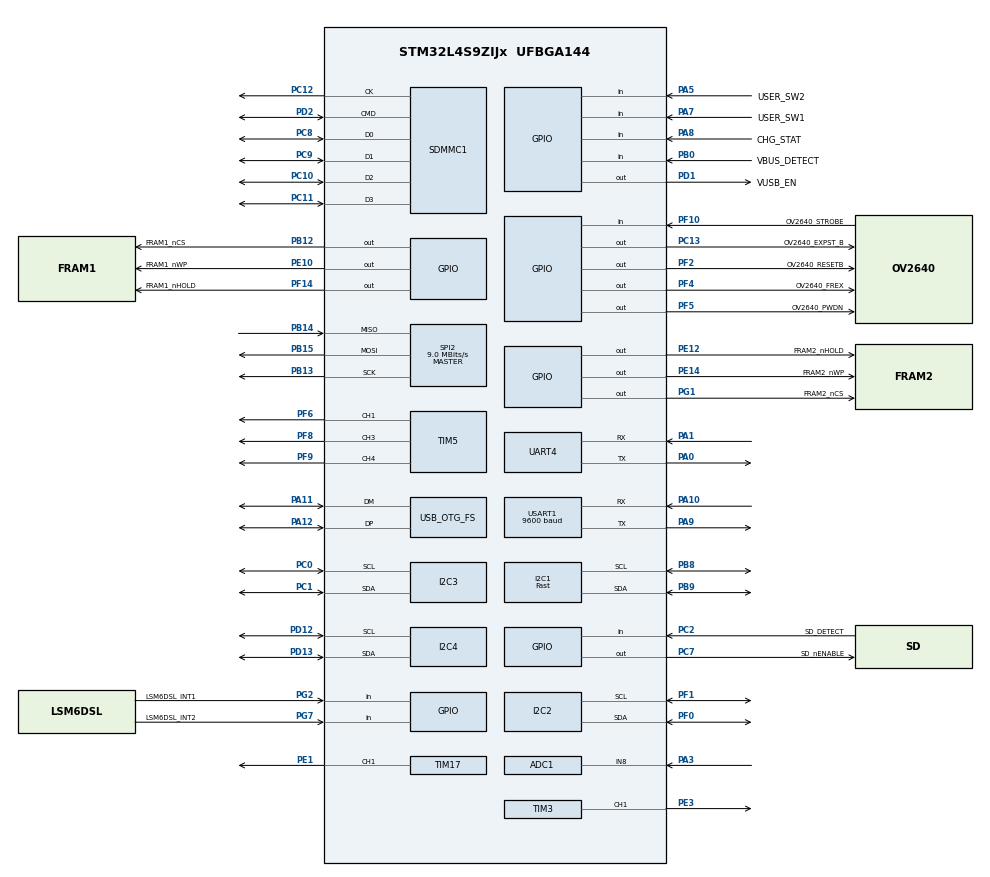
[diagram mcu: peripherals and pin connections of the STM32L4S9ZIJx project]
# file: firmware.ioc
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ADC1.Channel-0\#ChannelRegularConversion=ADC_CHANNEL_8
ADC1.DMAContinuousRequests=ENABLE
ADC1.NbrOfConversionFlag=1
ADC1.OffsetNumber-0\#ChannelRegularConversion=ADC_OFFSET_NONE
ADC1.Rank-0\#ChannelRegularConversion=1
ADC1.SamplingTime-0\#ChannelRegularConversion=ADC_SAMPLETIME_2CYCLES_5
ADC1.master=1
Dma.ADC1.0.Direction=DMA_PERIPH_TO_MEMORY
Dma.ADC1.0.EventEnable=DISABLE
Dma.ADC1.0.Instance=DMA1_Channel1
Dma.ADC1.0.MemDataAlignment=DMA_MDATAALIGN_HALFWORD
Dma.ADC1.0.MemInc=DMA_MINC_ENABLE
Dma.ADC1.0.Mode=DMA_CIRCULAR
Dma.ADC1.0.PeriphDataAlignment=DMA_PDATAALIGN_HALFWORD
Dma.ADC1.0.PeriphInc=DMA_PINC_DISABLE
Dma.ADC1.0.Polarity=HAL_DMAMUX_REQUEST_GEN_RISING
Dma.ADC1.0.Priority=DMA_PRIORITY_LOW
Dma.ADC1.0.RequestNumber=1
Dma.ADC1.0.SignalID=NONE
Dma.ADC1.0.SyncEnable=DISABLE
Dma.ADC1.0.SyncPolarity=HAL_DMAMUX_SYNC_NO_EVENT
Dma.ADC1.0.SyncRequestNumber=1
Dma.ADC1.0.SyncSignalID=NONE
Dma.Request0=ADC1
Dma.Request1=USART1_RX
Dma.Request2=UART4_TX
Dma.UART4_TX.2.Direction=DMA_MEMORY_TO_PERIPH
Dma.UART4_TX.2.EventEnable=DISABLE
Dma.UART4_TX.2.Instance=DMA1_Channel3
Dma.UART4_TX.2.MemDataAlignment=DMA_MDATAALIGN_BYTE
Dma.UART4_TX.2.MemInc=DMA_MINC_ENABLE
Dma.UART4_TX.2.Mode=DMA_NORMAL
Dma.UART4_TX.2.PeriphDataAlignment=DMA_PDATAALIGN_BYTE
Dma.UART4_TX.2.PeriphInc=DMA_PINC_DISABLE
Dma.UART4_TX.2.Polarity=HAL_DMAMUX_REQUEST_GEN_RISING
Dma.UART4_TX.2.Priority=DMA_PRIORITY_LOW
Dma.UART4_TX.2.RequestNumber=1
Dma.UART4_TX.2.SignalID=NONE
Dma.UART4_TX.2.SyncEnable=DISABLE
Dma.UART4_TX.2.SyncPolarity=HAL_DMAMUX_SYNC_NO_EVENT
Dma.UART4_TX.2.SyncRequestNumber=1
Dma.UART4_TX.2.SyncSignalID=NONE
Dma.USART1_RX.1.Direction=DMA_PERIPH_TO_MEMORY
Dma.USART1_RX.1.EventEnable=DISABLE
Dma.USART1_RX.1.Instance=DMA1_Channel2
Dma.USART1_RX.1.MemDataAlignment=DMA_MDATAALIGN_BYTE
Dma.USART1_RX.1.MemInc=DMA_MINC_ENABLE
Dma.USART1_RX.1.Mode=DMA_NORMAL
Dma.USART1_RX.1.PeriphDataAlignment=DMA_PDATAALIGN_BYTE
Dma.USART1_RX.1.PeriphInc=DMA_PINC_DISABLE
Dma.USART1_RX.1.Polarity=HAL_DMAMUX_REQUEST_GEN_RISING
Dma.USART1_RX.1.Priority=DMA_PRIORITY_LOW
Dma.USART1_RX.1.RequestNumber=1
Dma.USART1_RX.1.SignalID=NONE
Dma.USART1_RX.1.SyncEnable=DISABLE
Dma.USART1_RX.1.SyncPolarity=HAL_DMAMUX_SYNC_NO_EVENT
Dma.USART1_RX.1.SyncRequestNumber=1
Dma.USART1_RX.1.SyncSignalID=NONE
FREERTOS.INCLUDE_xTaskGetHandle=1
FREERTOS.MEMORY_ALLOCATION=1
FREERTOS.Tasks01=defaultTask,0,128,StartDefaultTask,Default,NULL,Static,defaultTaskBuffer,defaultTaskControlBlock
FREERTOS.configTICK_RATE_HZ=400
FREERTOS.configUSE_IDLE_HOOK=1
I2C1.I2C_Speed_Mode=I2C_Fast
I2C1.Timing=0x00702681
I2C2.Timing=0x10808DD3
I2C3.Timing=0x10808DD3
I2C4.Timing=0x10808DD3
Mcu.Family=STM32L4
Mcu.Name=STM32L4S9ZIJx
Mcu.Package=UFBGA144
NVIC.DMA1_Channel1_IRQn=true\:5\:0\:false\:false\:true\:true\:false\:true
NVIC.DMA1_Channel2_IRQn=true\:5\:0\:false\:false\:true\:true\:false\:true
NVIC.DMA1_Channel3_IRQn=true\:5\:0\:false\:false\:true\:true\:false\:true
NVIC.PriorityGroup=NVIC_PRIORITYGROUP_4
NVIC.TIM1_UP_TIM16_IRQn=true\:0\:0\:false\:false\:true\:false\:false\:true
NVIC.TimeBase=TIM1_UP_TIM16_IRQn
NVIC.TimeBaseIP=TIM1
NVIC.UART4_IRQn=true\:5\:0\:false\:false\:true\:true\:true\:true
PA0.Mode=Asynchronous
PA0.Signal=UART4_TX
PA1.Mode=Asynchronous
PA1.Signal=UART4_RX
PA10.Mode=Asynchronous
PA10.Signal=USART1_RX
PA11.Mode=Device_Only
PA11.Signal=USB_OTG_FS_DM
PA12.Mode=Device_Only
PA12.Signal=USB_OTG_FS_DP
PA13\ (JTMS/SWDIO).Mode=Serial_Wire
PA13\ (JTMS/SWDIO).Signal=SYS_JTMS-SWDIO
PA14\ (JTCK/SWCLK).Mode=Serial_Wire
PA14\ (JTCK/SWCLK).Signal=SYS_JTCK-SWCLK
PA3.Signal=ADCx_IN8
PA5.GPIO_Label=USER_SW2
PA5.GPIO_PuPd=GPIO_PULLUP
PA5.Signal=GPIO_Input
PA7.GPIO_Label=USER_SW1
PA7.GPIO_PuPd=GPIO_PULLUP
PA7.Signal=GPIO_Input
PA8.GPIO_Label=CHG_STAT
PA8.Signal=GPIO_Input
PA9.Mode=Asynchronous
PA9.Signal=USART1_TX
PB0.GPIO_Label=VBUS_DETECT
PB0.Signal=GPIO_Input
PB12.GPIO_Label=FRAM1_nCS
PB12.Signal=GPIO_Output
PB13.Mode=Full_Duplex_Master
PB13.Signal=SPI2_SCK
PB14.Mode=Full_Duplex_Master
PB14.Signal=SPI2_MISO
PB15.Mode=Full_Duplex_Master
PB15.Signal=SPI2_MOSI
PB3\ (JTDO/TRACESWO).Signal=SYS_JTDO-SWO
PB8.Mode=I2C
PB8.Signal=I2C1_SCL
PB9.Mode=I2C
PB9.Signal=I2C1_SDA
PC0.Mode=I2C
PC0.Signal=I2C3_SCL
PC1.Mode=I2C
PC1.Signal=I2C3_SDA
PC10.GPIO_PuPd=GPIO_NOPULL
PC10.Mode=SD_4_bits_Wide_bus
PC10.Signal=SDMMC1_D2
PC11.Mode=SD_4_bits_Wide_bus
PC11.Signal=SDMMC1_D3
PC12.Mode=SD_4_bits_Wide_bus
PC12.Signal=SDMMC1_CK
PC13.GPIO_Label=OV2640_EXPST_B
PC13.Signal=GPIO_Output
PC14-OSC32_IN\ (PC14).Mode=LSE-External-Oscillator
PC14-OSC32_IN\ (PC14).Signal=RCC_OSC32_IN
PC15-OSC32_OUT\ (PC15).Mode=LSE-External-Oscillator
PC15-OSC32_OUT\ (PC15).Signal=RCC_OSC32_OUT
PC2.GPIO_Label=SD_DETECT
PC2.GPIO_PuPd=GPIO_PULLUP
PC2.Signal=GPIO_Input
PC7.GPIO_Label=SD_nENABLE
PC7.Signal=GPIO_Output
PC8.GPIO_PuPd=GPIO_NOPULL
PC8.Mode=SD_4_bits_Wide_bus
PC8.Signal=SDMMC1_D0
PC9.GPIO_PuPd=GPIO_NOPULL
PC9.Mode=SD_4_bits_Wide_bus
PC9.Signal=SDMMC1_D1
PD1.GPIO_Label=VUSB_EN
PD1.Signal=GPIO_Output
PD12.Mode=I2C
PD12.Signal=I2C4_SCL
PD13.Mode=I2C
PD13.Signal=I2C4_SDA
PD2.Mode=SD_4_bits_Wide_bus
PD2.Signal=SDMMC1_CMD
PE1.Signal=S_TIM17_CH1
PE10.GPIO_Label=FRAM1_nWP
PE10.Signal=GPIO_Output
PE12.GPIO_Label=FRAM2_nHOLD
PE12.Signal=GPIO_Output
PE14.GPIO_Label=FRAM2_nWP
PE14.Signal=GPIO_Output
PE3.Signal=S_TIM3_CH1
PF0.Mode=I2C
PF0.Signal=I2C2_SDA
PF1.Mode=I2C
PF1.Signal=I2C2_SCL
PF10.GPIO_Label=OV2640_STROBE
PF10.Signal=GPIO_Input
PF14.GPIO_Label=FRAM1_nHOLD
PF14.Signal=GPIO_Output
PF2.GPIO_Label=OV2640_RESETB
PF2.GPIO_ModeDefaultOutputPP=GPIO_MODE_OUTPUT_OD
PF2.PinState=GPIO_PIN_SET
PF2.Signal=GPIO_Output
PF4.GPIO_Label=OV2640_FREX
PF4.Signal=GPIO_Output
PF5.GPIO_Label=OV2640_PWDN
PF5.Signal=GPIO_Output
PF6.Signal=S_TIM5_CH1
PF8.Signal=S_TIM5_CH3
PF9.Signal=S_TIM5_CH4
PG1.GPIO_Label=FRAM2_nCS
PG1.Signal=GPIO_Output
PG2.GPIO_Label=LSM6DSL_INT1
PG2.Signal=GPIO_Input
PG7.GPIO_Label=LSM6DSL_INT2
PG7.Signal=GPIO_Input
PH0-OSC_IN\ (PH0).Mode=HSE-External-Oscillator
PH0-OSC_IN\ (PH0).Signal=RCC_OSC_IN
PH1-OSC_OUT\ (PH1).Mode=HSE-External-Oscillator
PH1-OSC_OUT\ (PH1).Signal=RCC_OSC_OUT
ProjectManager.HeapSize=0x200
ProjectManager.StackSize=0x400
ProjectManager.TargetToolchain=STM32CubeIDE
RCC.ADCFreq_Value=32000000
RCC.AHBFreq_Value=72000000
RCC.APB1Freq_Value=72000000
RCC.APB1TimFreq_Value=72000000
RCC.APB2Freq_Value=72000000
RCC.APB2TimFreq_Value=72000000
RCC.CK48CLockSelection=RCC_USBCLKSOURCE_PLL
RCC.CortexFreq_Value=72000000
RCC.HCLKFreq_Value=72000000
RCC.HSE_VALUE=16000000
RCC.HSI48_VALUE=48000000
RCC.HSI_VALUE=16000000
RCC.MSI_VALUE=4000000
RCC.PLLM1=2
RCC.PLLM2=2
RCC.PLLN=36
RCC.PLLQ=RCC_PLLQ_DIV6
RCC.PLLR=RCC_PLLR_DIV4
RCC.PLLSourceVirtual=RCC_PLLSOURCE_HSE
RCC.SDMMCClockSelection=RCC_SDIOCLKSOURCE_CLK48
RCC.SYSCLKFreq_VALUE=72000000
RCC.SYSCLKSource=RCC_SYSCLKSOURCE_PLLCLK
RCC.USBFreq_Value=48000000
RCC.VCOOutputFreq_Value=288000000
SDMMC1.ClockDiv=2
SH.ADCx_IN8.0=ADC1_IN8,IN8-Single-Ended
SH.S_TIM17_CH1.0=TIM17_CH1,Forced Output1 CH1
SH.S_TIM3_CH1.0=TIM3_CH1,PWM Generation1 CH1
SH.S_TIM5_CH1.0=TIM5_CH1,PWM Generation1 CH1
SH.S_TIM5_CH3.0=TIM5_CH3,PWM Generation3 CH3
SH.S_TIM5_CH4.0=TIM5_CH4,PWM Generation4 CH4
SPI2.BaudRatePrescaler=SPI_BAUDRATEPRESCALER_8
SPI2.CalculateBaudRate=9.0 MBits/s
SPI2.Direction=SPI_DIRECTION_2LINES
SPI2.Mode=SPI_MODE_MASTER
SPI2.VirtualType=VM_MASTER
TIM17.AutoReloadPreload=TIM_AUTORELOAD_PRELOAD_DISABLE
TIM17.Channel=TIM_CHANNEL_1
TIM3.Channel-PWM\ Generation1\ CH1=TIM_CHANNEL_1
TIM3.Period=10
TIM3.Pulse-PWM\ Generation1\ CH1=5
TIM5.Channel-PWM\ Generation1\ CH1=TIM_CHANNEL_1
TIM5.Channel-PWM\ Generation3\ CH3=TIM_CHANNEL_3
TIM5.Channel-PWM\ Generation4\ CH4=TIM_CHANNEL_4
USART1.BaudRate=9600
USART1.VirtualMode-Asynchronous=VM_ASYNC
USB_OTG_FS.VirtualMode=Device_Only
USB_OTG_FS.lpm_enable=DISABLE
VP_FREERTOS_VS_CMSIS_V1.Mode=CMSIS_V1
VP_SYS_VS_tim1.Mode=TIM1
VP_TIM17_VS_ClockSourceINT.Mode=Enable_Timer
board=custom

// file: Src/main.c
/* USER CODE BEGIN Header */
/**
 ******************************************************************************
 * @file           : main.c
 * @brief          : Main program body
 ******************************************************************************
 * @attention
 *
 * <h2><center>&copy; Copyright (c) 2021 STMicroelectronics.
 * All rights reserved.</center></h2>
 *
 * This software component is licensed by ST under Ultimate Liberty license
 * SLA0044, the "License"; You may not use this file except in compliance with
 * the License. You may obtain a copy of the License at:
 *                             www.st.com/SLA0044
 *
 ******************************************************************************
 */
/* USER CODE END Header */

#include "main.h"
#include "cmsis_os.h"

/* USER CODE BEGIN Includes */

#include "camera_read_task.h"
#include "uart_spam_task.h"

/* USER CODE END Includes */

SD_HandleTypeDef hsd1;

TIM_HandleTypeDef htim17;

UART_HandleTypeDef huart1;
DMA_HandleTypeDef hdma_usart1_rx;

PCD_HandleTypeDef hpcd_USB_OTG_FS;

osThreadId defaultTaskHandle;
uint32_t defaultTaskBuffer[ 128 ];
osStaticThreadDef_t defaultTaskControlBlock;
/* USER CODE BEGIN PV */

// Statically allocated space for tasks
#define UART_SPAM_TASK_1_STACK_SIZE 256
StackType_t uart_spam_task_1_stack[UART_SPAM_TASK_1_STACK_SIZE];
StaticTask_t uart_spam_task_1_buffer;

#define CAMERA_READ_TASK_STACK_SIZE 1024
StackType_t camera_read_task_stack[CAMERA_READ_TASK_STACK_SIZE];
StaticTask_t camera_read_task_buffer;

/* USER CODE END PV */

void SystemClock_Config(void);
static void MX_GPIO_Init(void);
static void MX_DMA_Init(void);
static void MX_ADC1_Init(void);
static void MX_I2C1_Init(void);
static void MX_I2C2_Init(void);
static void MX_I2C3_Init(void);
static void MX_I2C4_Init(void);
static void MX_SDMMC1_SD_Init(void);
static void MX_SPI2_Init(void);
static void MX_TIM3_Init(void);
static void MX_TIM5_Init(void);
static void MX_UART4_Init(void);
static void MX_USB_OTG_FS_PCD_Init(void);
static void MX_USART1_UART_Init(void);
static void MX_TIM17_Init(void);
void StartDefaultTask(void const * argument);

int main(void)
{

    /* MCU Configuration--------------------------------------------------------*/

    /* Reset of all peripherals, Initializes the Flash interface and the Systick. */
    HAL_Init();

    /* Configure the system clock */
    SystemClock_Config();

    /* USER CODE BEGIN SysInit */
    // quick hack to test FPGA UART at low baud rates - just "short" FPGA TX to MCU TX with
    // software.

    /* USER CODE END SysInit */

    /* Initialize all configured peripherals */
    MX_GPIO_Init();
    MX_DMA_Init();
    MX_ADC1_Init();
    MX_I2C1_Init();
    MX_I2C2_Init();
    MX_I2C3_Init();
    MX_I2C4_Init();
    MX_SDMMC1_SD_Init();
    MX_SPI2_Init();
    MX_TIM3_Init();
    MX_TIM5_Init();
    MX_UART4_Init();
    MX_USB_OTG_FS_PCD_Init();
    MX_USART1_UART_Init();
    MX_TIM17_Init();

    /* USER CODE BEGIN 2 */

    // hold FPGA in reset for a little bit.
    LL_GPIO_ResetOutputPin(OV2640_RESETB_GPIO_Port, OV2640_RESETB_Pin);
    for (volatile int i = 0; i < 10000; i++);
    LL_GPIO_SetOutputPin(OV2640_RESETB_GPIO_Port, OV2640_RESETB_Pin);

    // Configure EXTI0 to interrupt on PE 0
    // FWIW, I don't think that EXTI has a clock that needs to be enabled in APB2ENR.
    LL_GPIO_InitTypeDef GPIO_InitStruct = {0};
    GPIO_InitStruct.Pin = LL_GPIO_PIN_0;
    GPIO_InitStruct.Mode = LL_GPIO_MODE_INPUT;
    GPIO_InitStruct.Pull = LL_GPIO_PULL_NO;
    LL_GPIO_Init(GPIOE, &GPIO_InitStruct);

    SYSCFG->EXTICR[0] &= ~(0b1111ul << 0);
    SYSCFG->EXTICR[0] |=  (0b0100ul << 0);
    EXTI->IMR1        |=  (1 << 0);
    EXTI->RTSR1       |=  (1 << 0);

    HAL_NVIC_SetPriority(EXTI0_IRQn, 8, 0);
    HAL_NVIC_EnableIRQ(EXTI0_IRQn);

    /* USER CODE END 2 */

    /* Create the thread(s) */
    /* definition and creation of defaultTask */
    osThreadStaticDef(defaultTask, StartDefaultTask, osPriorityNormal, 0, 128, defaultTaskBuffer, &defaultTaskControlBlock);
    defaultTaskHandle = osThreadCreate(osThread(defaultTask), NULL);

    /* USER CODE BEGIN RTOS_THREADS */

    TaskHandle_t uart_spam_task_1_handle = NULL;
    uart_spam_task_1_handle = xTaskCreateStatic(uart_spam_task,
                                                "uart spam task 1",
                                                UART_SPAM_TASK_1_STACK_SIZE,
                                                NULL,
                                                1,
                                                uart_spam_task_1_stack,
                                                &uart_spam_task_1_buffer);

    static TaskHandle_t camera_read_task_handle = NULL;
    camera_read_task_handle = xTaskCreateStatic(camera_read_task,
                                                "read camera task",
                                                CAMERA_READ_TASK_STACK_SIZE,
                                                NULL,
                                                1,
                                                camera_read_task_stack,
                                                &camera_read_task_buffer);

    /* USER CODE END RTOS_THREADS */

    /* Start scheduler */
    osKernelStart();

    /* We should never get here as control is now taken by the scheduler */

    /* Infinite loop */
    while (1)
    {

    }
}

void SystemClock_Config(void)
{
    LL_FLASH_SetLatency(LL_FLASH_LATENCY_3);

    if(LL_FLASH_GetLatency() != LL_FLASH_LATENCY_3)
    {
        Error_Handler();
    }
    LL_PWR_SetRegulVoltageScaling(LL_PWR_REGU_VOLTAGE_SCALE1);
    LL_RCC_HSE_Enable();

    /* Wait till HSE is ready */
    while(LL_RCC_HSE_IsReady() != 1)
    {

    }
    LL_RCC_PLL_ConfigDomain_SYS(LL_RCC_PLLSOURCE_HSE, LL_RCC_PLLM_DIV_2, 36, LL_RCC_PLLR_DIV_4);
    LL_RCC_PLL_ConfigDomain_48M(LL_RCC_PLLSOURCE_HSE, LL_RCC_PLLM_DIV_2, 36, LL_RCC_PLLQ_DIV_6);
    LL_RCC_PLL_EnableDomain_48M();
    LL_RCC_PLL_EnableDomain_SYS();
    LL_RCC_PLL_Enable();

    /* Wait till PLL is ready */
    while(LL_RCC_PLL_IsReady() != 1)
    {

    }
    LL_RCC_PLLSAI1_ConfigDomain_ADC(LL_RCC_PLLSOURCE_HSE, LL_RCC_PLLSAI1M_DIV_2, 8, LL_RCC_PLLSAI1R_DIV_2);
    LL_RCC_PLLSAI1_EnableDomain_ADC();
    LL_RCC_PLLSAI1_Enable();

    /* Wait till PLLSAI1 is ready */
    while(LL_RCC_PLLSAI1_IsReady() != 1)
    {

    }
    LL_RCC_SetSysClkSource(LL_RCC_SYS_CLKSOURCE_PLL);

    /* Wait till System clock is ready */
    while(LL_RCC_GetSysClkSource() != LL_RCC_SYS_CLKSOURCE_STATUS_PLL)
    {

    }
    LL_RCC_SetAHBPrescaler(LL_RCC_SYSCLK_DIV_1);
    LL_RCC_SetAPB1Prescaler(LL_RCC_APB1_DIV_1);
    LL_RCC_SetAPB2Prescaler(LL_RCC_APB2_DIV_1);
    LL_SetSystemCoreClock(72000000);
    LL_RCC_SetUSARTClockSource(LL_RCC_USART1_CLKSOURCE_PCLK2);
    LL_RCC_SetUARTClockSource(LL_RCC_UART4_CLKSOURCE_PCLK1);
    LL_RCC_SetI2CClockSource(LL_RCC_I2C1_CLKSOURCE_PCLK1);
    LL_RCC_SetI2CClockSource(LL_RCC_I2C3_CLKSOURCE_PCLK1);
    LL_RCC_SetI2CClockSource(LL_RCC_I2C2_CLKSOURCE_PCLK1);
    LL_RCC_SetI2CClockSource(LL_RCC_I2C4_CLKSOURCE_PCLK1);
    LL_RCC_SetSDMMCKernelClockSource(LL_RCC_SDMMC1_KERNELCLKSOURCE_48CLK);
    LL_RCC_SetSDMMCClockSource(LL_RCC_SDMMC1_CLKSOURCE_PLL);
    LL_RCC_SetUSBClockSource(LL_RCC_USB_CLKSOURCE_PLL);
    LL_RCC_SetADCClockSource(LL_RCC_ADC_CLKSOURCE_PLLSAI1);
}

static void MX_ADC1_Init(void)
{

    LL_ADC_InitTypeDef ADC_InitStruct = {0};
    LL_ADC_REG_InitTypeDef ADC_REG_InitStruct = {0};
    LL_ADC_CommonInitTypeDef ADC_CommonInitStruct = {0};

    LL_GPIO_InitTypeDef GPIO_InitStruct = {0};

    /* Peripheral clock enable */
    LL_AHB2_GRP1_EnableClock(LL_AHB2_GRP1_PERIPH_ADC);

    LL_AHB2_GRP1_EnableClock(LL_AHB2_GRP1_PERIPH_GPIOA);
    /**ADC1 GPIO Configuration
  PA3   ------> ADC1_IN8
     */
    GPIO_InitStruct.Pin = LL_GPIO_PIN_3;
    GPIO_InitStruct.Mode = LL_GPIO_MODE_ANALOG;
    GPIO_InitStruct.Pull = LL_GPIO_PULL_NO;
    LL_GPIO_Init(GPIOA, &GPIO_InitStruct);

    /* ADC1 DMA Init */

    /* ADC1 Init */
    LL_DMA_SetPeriphRequest(DMA1, LL_DMA_CHANNEL_1, LL_DMAMUX_REQ_ADC1);

    LL_DMA_SetDataTransferDirection(DMA1, LL_DMA_CHANNEL_1, LL_DMA_DIRECTION_PERIPH_TO_MEMORY);

    LL_DMA_SetChannelPriorityLevel(DMA1, LL_DMA_CHANNEL_1, LL_DMA_PRIORITY_LOW);

    LL_DMA_SetMode(DMA1, LL_DMA_CHANNEL_1, LL_DMA_MODE_CIRCULAR);

    LL_DMA_SetPeriphIncMode(DMA1, LL_DMA_CHANNEL_1, LL_DMA_PERIPH_NOINCREMENT);

    LL_DMA_SetMemoryIncMode(DMA1, LL_DMA_CHANNEL_1, LL_DMA_MEMORY_INCREMENT);

    LL_DMA_SetPeriphSize(DMA1, LL_DMA_CHANNEL_1, LL_DMA_PDATAALIGN_HALFWORD);

    LL_DMA_SetMemorySize(DMA1, LL_DMA_CHANNEL_1, LL_DMA_MDATAALIGN_HALFWORD);

    /** Common config
     */
    ADC_InitStruct.Resolution = LL_ADC_RESOLUTION_12B;
    ADC_InitStruct.DataAlignment = LL_ADC_DATA_ALIGN_RIGHT;
    ADC_InitStruct.LowPowerMode = LL_ADC_LP_MODE_NONE;
    LL_ADC_Init(ADC1, &ADC_InitStruct);
    ADC_REG_InitStruct.TriggerSource = LL_ADC_REG_TRIG_SOFTWARE;
    ADC_REG_InitStruct.SequencerLength = LL_ADC_REG_SEQ_SCAN_DISABLE;
    ADC_REG_InitStruct.SequencerDiscont = LL_ADC_REG_SEQ_DISCONT_DISABLE;
    ADC_REG_InitStruct.ContinuousMode = LL_ADC_REG_CONV_SINGLE;
    ADC_REG_InitStruct.DMATransfer = LL_ADC_REG_DMA_TRANSFER_UNLIMITED;
    ADC_REG_InitStruct.Overrun = LL_ADC_REG_OVR_DATA_PRESERVED;
    LL_ADC_REG_Init(ADC1, &ADC_REG_InitStruct);
    LL_ADC_DisableIT_EOC(ADC1);
    LL_ADC_DisableIT_EOS(ADC1);
    LL_ADC_DisableDeepPowerDown(ADC1);
    LL_ADC_EnableInternalRegulator(ADC1);
    ADC_CommonInitStruct.CommonClock = LL_ADC_CLOCK_ASYNC_DIV1;
    LL_ADC_CommonInit(__LL_ADC_COMMON_INSTANCE(ADC1), &ADC_CommonInitStruct);
    /** Configure Regular Channel
     */
    LL_ADC_REG_SetSequencerRanks(ADC1, LL_ADC_REG_RANK_1, LL_ADC_CHANNEL_8);
    LL_ADC_SetChannelSamplingTime(ADC1, LL_ADC_CHANNEL_8, LL_ADC_SAMPLINGTIME_2CYCLES_5);
    LL_ADC_SetChannelSingleDiff(ADC1, LL_ADC_CHANNEL_8, LL_ADC_SINGLE_ENDED);

}

static void MX_I2C1_Init(void)
{

    LL_I2C_InitTypeDef I2C_InitStruct = {0};

    LL_GPIO_InitTypeDef GPIO_InitStruct = {0};

    LL_AHB2_GRP1_EnableClock(LL_AHB2_GRP1_PERIPH_GPIOB);
    /**I2C1 GPIO Configuration
        PB9   ------> I2C1_SDA
        PB8   ------> I2C1_SCL
     */
    GPIO_InitStruct.Pin = LL_GPIO_PIN_9|LL_GPIO_PIN_8;
    GPIO_InitStruct.Mode = LL_GPIO_MODE_ALTERNATE;
    GPIO_InitStruct.Speed = LL_GPIO_SPEED_FREQ_VERY_HIGH;
    GPIO_InitStruct.OutputType = LL_GPIO_OUTPUT_OPENDRAIN;
    GPIO_InitStruct.Pull = LL_GPIO_PULL_UP;
    GPIO_InitStruct.Alternate = LL_GPIO_AF_4;
    LL_GPIO_Init(GPIOB, &GPIO_InitStruct);

    /* Peripheral clock enable */
    LL_APB1_GRP1_EnableClock(LL_APB1_GRP1_PERIPH_I2C1);

    /** I2C Initialization
     */
    LL_I2C_EnableAutoEndMode(I2C1);
    LL_I2C_DisableOwnAddress2(I2C1);
    LL_I2C_DisableGeneralCall(I2C1);
    LL_I2C_EnableClockStretching(I2C1);
    I2C_InitStruct.PeripheralMode = LL_I2C_MODE_I2C;
    I2C_InitStruct.Timing = 0x00702681;
    I2C_InitStruct.AnalogFilter = LL_I2C_ANALOGFILTER_ENABLE;
    I2C_InitStruct.DigitalFilter = 0;
    I2C_InitStruct.OwnAddress1 = 0;
    I2C_InitStruct.TypeAcknowledge = LL_I2C_ACK;
    I2C_InitStruct.OwnAddrSize = LL_I2C_OWNADDRESS1_7BIT;
    LL_I2C_Init(I2C1, &I2C_InitStruct);
    LL_I2C_SetOwnAddress2(I2C1, 0, LL_I2C_OWNADDRESS2_NOMASK);

}

static void MX_I2C2_Init(void)
{

    LL_I2C_InitTypeDef I2C_InitStruct = {0};

    LL_GPIO_InitTypeDef GPIO_InitStruct = {0};

    LL_AHB2_GRP1_EnableClock(LL_AHB2_GRP1_PERIPH_GPIOF);
    /**I2C2 GPIO Configuration
        PF1   ------> I2C2_SCL
        PF0   ------> I2C2_SDA
     */
    GPIO_InitStruct.Pin = LL_GPIO_PIN_1|LL_GPIO_PIN_0;
    GPIO_InitStruct.Mode = LL_GPIO_MODE_ALTERNATE;
    GPIO_InitStruct.Speed = LL_GPIO_SPEED_FREQ_VERY_HIGH;
    GPIO_InitStruct.OutputType = LL_GPIO_OUTPUT_OPENDRAIN;
    GPIO_InitStruct.Pull = LL_GPIO_PULL_UP;
    GPIO_InitStruct.Alternate = LL_GPIO_AF_4;
    LL_GPIO_Init(GPIOF, &GPIO_InitStruct);

    /* Peripheral clock enable */
    LL_APB1_GRP1_EnableClock(LL_APB1_GRP1_PERIPH_I2C2);

    /** I2C Initialization
     */
    LL_I2C_EnableAutoEndMode(I2C2);
    LL_I2C_DisableOwnAddress2(I2C2);
    LL_I2C_DisableGeneralCall(I2C2);
    LL_I2C_EnableClockStretching(I2C2);
    I2C_InitStruct.PeripheralMode = LL_I2C_MODE_I2C;
    I2C_InitStruct.Timing = 0x10808DD3;
    I2C_InitStruct.AnalogFilter = LL_I2C_ANALOGFILTER_ENABLE;
    I2C_InitStruct.DigitalFilter = 0;
    I2C_InitStruct.OwnAddress1 = 0;
    I2C_InitStruct.TypeAcknowledge = LL_I2C_ACK;
    I2C_InitStruct.OwnAddrSize = LL_I2C_OWNADDRESS1_7BIT;
    LL_I2C_Init(I2C2, &I2C_InitStruct);
    LL_I2C_SetOwnAddress2(I2C2, 0, LL_I2C_OWNADDRESS2_NOMASK);

}

static void MX_I2C3_Init(void)
{

    LL_I2C_InitTypeDef I2C_InitStruct = {0};

    LL_GPIO_InitTypeDef GPIO_InitStruct = {0};

    LL_AHB2_GRP1_EnableClock(LL_AHB2_GRP1_PERIPH_GPIOC);
    /**I2C3 GPIO Configuration
        PC0   ------> I2C3_SCL
        PC1   ------> I2C3_SDA
     */
    GPIO_InitStruct.Pin = LL_GPIO_PIN_0|LL_GPIO_PIN_1;
    GPIO_InitStruct.Mode = LL_GPIO_MODE_ALTERNATE;
    GPIO_InitStruct.Speed = LL_GPIO_SPEED_FREQ_VERY_HIGH;
    GPIO_InitStruct.OutputType = LL_GPIO_OUTPUT_OPENDRAIN;
    GPIO_InitStruct.Pull = LL_GPIO_PULL_UP;
    GPIO_InitStruct.Alternate = LL_GPIO_AF_4;
    LL_GPIO_Init(GPIOC, &GPIO_InitStruct);

    /* Peripheral clock enable */
    LL_APB1_GRP1_EnableClock(LL_APB1_GRP1_PERIPH_I2C3);

    /** I2C Initialization
     */
    LL_I2C_EnableAutoEndMode(I2C3);
    LL_I2C_DisableOwnAddress2(I2C3);
    LL_I2C_DisableGeneralCall(I2C3);
    LL_I2C_EnableClockStretching(I2C3);
    I2C_InitStruct.PeripheralMode = LL_I2C_MODE_I2C;
    I2C_InitStruct.Timing = 0x10808DD3;
    I2C_InitStruct.AnalogFilter = LL_I2C_ANALOGFILTER_ENABLE;
    I2C_InitStruct.DigitalFilter = 0;
    I2C_InitStruct.OwnAddress1 = 0;
    I2C_InitStruct.TypeAcknowledge = LL_I2C_ACK;
    I2C_InitStruct.OwnAddrSize = LL_I2C_OWNADDRESS1_7BIT;
    LL_I2C_Init(I2C3, &I2C_InitStruct);
    LL_I2C_SetOwnAddress2(I2C3, 0, LL_I2C_OWNADDRESS2_NOMASK);

}

static void MX_I2C4_Init(void)
{

    LL_I2C_InitTypeDef I2C_InitStruct = {0};

    LL_GPIO_InitTypeDef GPIO_InitStruct = {0};

    LL_AHB2_GRP1_EnableClock(LL_AHB2_GRP1_PERIPH_GPIOD);
    /**I2C4 GPIO Configuration
        PD12   ------> I2C4_SCL
        PD13   ------> I2C4_SDA
     */
    GPIO_InitStruct.Pin = LL_GPIO_PIN_12|LL_GPIO_PIN_13;
    GPIO_InitStruct.Mode = LL_GPIO_MODE_ALTERNATE;
    GPIO_InitStruct.Speed = LL_GPIO_SPEED_FREQ_VERY_HIGH;
    GPIO_InitStruct.OutputType = LL_GPIO_OUTPUT_OPENDRAIN;
    GPIO_InitStruct.Pull = LL_GPIO_PULL_UP;
    GPIO_InitStruct.Alternate = LL_GPIO_AF_4;
    LL_GPIO_Init(GPIOD, &GPIO_InitStruct);

    /* Peripheral clock enable */
    LL_APB1_GRP2_EnableClock(LL_APB1_GRP2_PERIPH_I2C4);

    /** I2C Initialization
     */
    LL_I2C_EnableAutoEndMode(I2C4);
    LL_I2C_DisableOwnAddress2(I2C4);
    LL_I2C_DisableGeneralCall(I2C4);
    LL_I2C_EnableClockStretching(I2C4);
    I2C_InitStruct.PeripheralMode = LL_I2C_MODE_I2C;
    I2C_InitStruct.Timing = 0x10808DD3;
    I2C_InitStruct.AnalogFilter = LL_I2C_ANALOGFILTER_ENABLE;
    I2C_InitStruct.DigitalFilter = 0;
    I2C_InitStruct.OwnAddress1 = 0;
    I2C_InitStruct.TypeAcknowledge = LL_I2C_ACK;
    I2C_InitStruct.OwnAddrSize = LL_I2C_OWNADDRESS1_7BIT;
    LL_I2C_Init(I2C4, &I2C_InitStruct);
    LL_I2C_SetOwnAddress2(I2C4, 0, LL_I2C_OWNADDRESS2_NOMASK);

}

static void MX_SDMMC1_SD_Init(void)
{

    hsd1.Instance = SDMMC1;
    hsd1.Init.ClockEdge = SDMMC_CLOCK_EDGE_RISING;
    hsd1.Init.ClockPowerSave = SDMMC_CLOCK_POWER_SAVE_DISABLE;
    hsd1.Init.BusWide = SDMMC_BUS_WIDE_4B;
    hsd1.Init.HardwareFlowControl = SDMMC_HARDWARE_FLOW_CONTROL_DISABLE;
    hsd1.Init.ClockDiv = 2;
    hsd1.Init.Transceiver = SDMMC_TRANSCEIVER_DISABLE;
    if (HAL_SD_Init(&hsd1) != HAL_OK)
    {
        Error_Handler();
    }

}

static void MX_SPI2_Init(void)
{

    LL_SPI_InitTypeDef SPI_InitStruct = {0};

    LL_GPIO_InitTypeDef GPIO_InitStruct = {0};

    /* Peripheral clock enable */
    LL_APB1_GRP1_EnableClock(LL_APB1_GRP1_PERIPH_SPI2);

    LL_AHB2_GRP1_EnableClock(LL_AHB2_GRP1_PERIPH_GPIOB);
    /**SPI2 GPIO Configuration
        PB15   ------> SPI2_MOSI
        PB14   ------> SPI2_MISO
        PB13   ------> SPI2_SCK
     */
    GPIO_InitStruct.Pin = LL_GPIO_PIN_15|LL_GPIO_PIN_14|LL_GPIO_PIN_13;
    GPIO_InitStruct.Mode = LL_GPIO_MODE_ALTERNATE;
    GPIO_InitStruct.Speed = LL_GPIO_SPEED_FREQ_VERY_HIGH;
    GPIO_InitStruct.OutputType = LL_GPIO_OUTPUT_PUSHPULL;
    GPIO_InitStruct.Pull = LL_GPIO_PULL_NO;
    GPIO_InitStruct.Alternate = LL_GPIO_AF_5;
    LL_GPIO_Init(GPIOB, &GPIO_InitStruct);

    /* SPI2 parameter configuration*/
    SPI_InitStruct.TransferDirection = LL_SPI_FULL_DUPLEX;
    SPI_InitStruct.Mode = LL_SPI_MODE_MASTER;
    SPI_InitStruct.DataWidth = LL_SPI_DATAWIDTH_4BIT;
    SPI_InitStruct.ClockPolarity = LL_SPI_POLARITY_LOW;
    SPI_InitStruct.ClockPhase = LL_SPI_PHASE_1EDGE;
    SPI_InitStruct.NSS = LL_SPI_NSS_SOFT;
    SPI_InitStruct.BaudRate = LL_SPI_BAUDRATEPRESCALER_DIV8;
    SPI_InitStruct.BitOrder = LL_SPI_MSB_FIRST;
    SPI_InitStruct.CRCCalculation = LL_SPI_CRCCALCULATION_DISABLE;
    SPI_InitStruct.CRCPoly = 7;
    LL_SPI_Init(SPI2, &SPI_InitStruct);
    LL_SPI_SetStandard(SPI2, LL_SPI_PROTOCOL_MOTOROLA);
    LL_SPI_EnableNSSPulseMgt(SPI2);

}

static void MX_TIM3_Init(void)
{

    LL_TIM_InitTypeDef TIM_InitStruct = {0};
    LL_TIM_OC_InitTypeDef TIM_OC_InitStruct = {0};

    LL_GPIO_InitTypeDef GPIO_InitStruct = {0};

    /* Peripheral clock enable */
    LL_APB1_GRP1_EnableClock(LL_APB1_GRP1_PERIPH_TIM3);

    TIM_InitStruct.Prescaler = 0;
    TIM_InitStruct.CounterMode = LL_TIM_COUNTERMODE_UP;
    TIM_InitStruct.Autoreload = 10;
    TIM_InitStruct.ClockDivision = LL_TIM_CLOCKDIVISION_DIV1;
    LL_TIM_Init(TIM3, &TIM_InitStruct);
    LL_TIM_DisableARRPreload(TIM3);
    LL_TIM_OC_EnablePreload(TIM3, LL_TIM_CHANNEL_CH1);
    TIM_OC_InitStruct.OCMode = LL_TIM_OCMODE_PWM1;
    TIM_OC_InitStruct.OCState = LL_TIM_OCSTATE_DISABLE;
    TIM_OC_InitStruct.OCNState = LL_TIM_OCSTATE_DISABLE;
    TIM_OC_InitStruct.CompareValue = 5;
    TIM_OC_InitStruct.OCPolarity = LL_TIM_OCPOLARITY_HIGH;
    LL_TIM_OC_Init(TIM3, LL_TIM_CHANNEL_CH1, &TIM_OC_InitStruct);
    LL_TIM_OC_DisableFast(TIM3, LL_TIM_CHANNEL_CH1);
    LL_TIM_SetOCRefClearInputSource(TIM3, LL_TIM_OCREF_CLR_INT_NC);
    LL_TIM_DisableExternalClock(TIM3);
    LL_TIM_ConfigETR(TIM3, LL_TIM_ETR_POLARITY_NONINVERTED, LL_TIM_ETR_PRESCALER_DIV1, LL_TIM_ETR_FILTER_FDIV1);
    LL_TIM_SetTriggerOutput(TIM3, LL_TIM_TRGO_RESET);
    LL_TIM_DisableMasterSlaveMode(TIM3);
    LL_AHB2_GRP1_EnableClock(LL_AHB2_GRP1_PERIPH_GPIOE);
    /**TIM3 GPIO Configuration
        PE3   ------> TIM3_CH1
     */
    GPIO_InitStruct.Pin = LL_GPIO_PIN_3;
    GPIO_InitStruct.Mode = LL_GPIO_MODE_ALTERNATE;
    GPIO_InitStruct.Speed = LL_GPIO_SPEED_FREQ_LOW;
    GPIO_InitStruct.OutputType = LL_GPIO_OUTPUT_PUSHPULL;
    GPIO_InitStruct.Pull = LL_GPIO_PULL_NO;
    GPIO_InitStruct.Alternate = LL_GPIO_AF_2;
    LL_GPIO_Init(GPIOE, &GPIO_InitStruct);

}

static void MX_TIM5_Init(void)
{

    LL_TIM_InitTypeDef TIM_InitStruct = {0};
    LL_TIM_OC_InitTypeDef TIM_OC_InitStruct = {0};

    LL_GPIO_InitTypeDef GPIO_InitStruct = {0};

    /* Peripheral clock enable */
    LL_APB1_GRP1_EnableClock(LL_APB1_GRP1_PERIPH_TIM5);

    TIM_InitStruct.Prescaler = 0;
    TIM_InitStruct.CounterMode = LL_TIM_COUNTERMODE_UP;
    TIM_InitStruct.Autoreload = 0;
    TIM_InitStruct.ClockDivision = LL_TIM_CLOCKDIVISION_DIV1;
    LL_TIM_Init(TIM5, &TIM_InitStruct);
    LL_TIM_DisableARRPreload(TIM5);
    LL_TIM_OC_EnablePreload(TIM5, LL_TIM_CHANNEL_CH1);
    TIM_OC_InitStruct.OCMode = LL_TIM_OCMODE_PWM1;
    TIM_OC_InitStruct.OCState = LL_TIM_OCSTATE_DISABLE;
    TIM_OC_InitStruct.OCNState = LL_TIM_OCSTATE_DISABLE;
    TIM_OC_InitStruct.CompareValue = 0;
    TIM_OC_InitStruct.OCPolarity = LL_TIM_OCPOLARITY_HIGH;
    LL_TIM_OC_Init(TIM5, LL_TIM_CHANNEL_CH1, &TIM_OC_InitStruct);
    LL_TIM_OC_DisableFast(TIM5, LL_TIM_CHANNEL_CH1);
    LL_TIM_OC_EnablePreload(TIM5, LL_TIM_CHANNEL_CH3);
    TIM_OC_InitStruct.OCState = LL_TIM_OCSTATE_DISABLE;
    TIM_OC_InitStruct.OCNState = LL_TIM_OCSTATE_DISABLE;
    LL_TIM_OC_Init(TIM5, LL_TIM_CHANNEL_CH3, &TIM_OC_InitStruct);
    LL_TIM_OC_DisableFast(TIM5, LL_TIM_CHANNEL_CH3);
    LL_TIM_OC_EnablePreload(TIM5, LL_TIM_CHANNEL_CH4);
    TIM_OC_InitStruct.OCState = LL_TIM_OCSTATE_DISABLE;
    TIM_OC_InitStruct.OCNState = LL_TIM_OCSTATE_DISABLE;
    LL_TIM_OC_Init(TIM5, LL_TIM_CHANNEL_CH4, &TIM_OC_InitStruct);
    LL_TIM_OC_DisableFast(TIM5, LL_TIM_CHANNEL_CH4);
    LL_TIM_SetOCRefClearInputSource(TIM5, LL_TIM_OCREF_CLR_INT_NC);
    LL_TIM_DisableExternalClock(TIM5);
    LL_TIM_ConfigETR(TIM5, LL_TIM_ETR_POLARITY_NONINVERTED, LL_TIM_ETR_PRESCALER_DIV1, LL_TIM_ETR_FILTER_FDIV1);
    LL_TIM_SetTriggerOutput(TIM5, LL_TIM_TRGO_RESET);
    LL_TIM_DisableMasterSlaveMode(TIM5);
    LL_AHB2_GRP1_EnableClock(LL_AHB2_GRP1_PERIPH_GPIOF);
    /**TIM5 GPIO Configuration
        PF8   ------> TIM5_CH3
        PF6   ------> TIM5_CH1
        PF9   ------> TIM5_CH4
     */
    GPIO_InitStruct.Pin = LL_GPIO_PIN_8|LL_GPIO_PIN_6|LL_GPIO_PIN_9;
    GPIO_InitStruct.Mode = LL_GPIO_MODE_ALTERNATE;
    GPIO_InitStruct.Speed = LL_GPIO_SPEED_FREQ_LOW;
    GPIO_InitStruct.OutputType = LL_GPIO_OUTPUT_PUSHPULL;
    GPIO_InitStruct.Pull = LL_GPIO_PULL_NO;
    GPIO_InitStruct.Alternate = LL_GPIO_AF_2;
    LL_GPIO_Init(GPIOF, &GPIO_InitStruct);

}

static void MX_TIM17_Init(void)
{

    TIM_OC_InitTypeDef sConfigOC = {0};
    TIM_BreakDeadTimeConfigTypeDef sBreakDeadTimeConfig = {0};

    htim17.Instance = TIM17;
    htim17.Init.Prescaler = 0;
    htim17.Init.CounterMode = TIM_COUNTERMODE_UP;
    htim17.Init.Period = 0;
    htim17.Init.ClockDivision = TIM_CLOCKDIVISION_DIV1;
    htim17.Init.RepetitionCounter = 0;
    htim17.Init.AutoReloadPreload = TIM_AUTORELOAD_PRELOAD_DISABLE;
    if (HAL_TIM_Base_Init(&htim17) != HAL_OK)
    {
        Error_Handler();
    }
    if (HAL_TIM_OC_Init(&htim17) != HAL_OK)
    {
        Error_Handler();
    }
    sConfigOC.OCMode = TIM_OCMODE_FORCED_ACTIVE;
    sConfigOC.Pulse = 0;
    sConfigOC.OCPolarity = TIM_OCPOLARITY_HIGH;
    sConfigOC.OCNPolarity = TIM_OCNPOLARITY_HIGH;
    sConfigOC.OCFastMode = TIM_OCFAST_DISABLE;
    sConfigOC.OCIdleState = TIM_OCIDLESTATE_RESET;
    sConfigOC.OCNIdleState = TIM_OCNIDLESTATE_RESET;
    if (HAL_TIM_OC_ConfigChannel(&htim17, &sConfigOC, TIM_CHANNEL_1) != HAL_OK)
    {
        Error_Handler();
    }
    sBreakDeadTimeConfig.OffStateRunMode = TIM_OSSR_DISABLE;
    sBreakDeadTimeConfig.OffStateIDLEMode = TIM_OSSI_DISABLE;
    sBreakDeadTimeConfig.LockLevel = TIM_LOCKLEVEL_OFF;
    sBreakDeadTimeConfig.DeadTime = 0;
    sBreakDeadTimeConfig.BreakState = TIM_BREAK_DISABLE;
    sBreakDeadTimeConfig.BreakPolarity = TIM_BREAKPOLARITY_HIGH;
    sBreakDeadTimeConfig.AutomaticOutput = TIM_AUTOMATICOUTPUT_DISABLE;
    if (HAL_TIMEx_ConfigBreakDeadTime(&htim17, &sBreakDeadTimeConfig) != HAL_OK)
    {
        Error_Handler();
    }
    HAL_TIM_MspPostInit(&htim17);

}

static void MX_UART4_Init(void)
{

    LL_USART_InitTypeDef UART_InitStruct = {0};

    LL_GPIO_InitTypeDef GPIO_InitStruct = {0};

    /* Peripheral clock enable */
    LL_APB1_GRP1_EnableClock(LL_APB1_GRP1_PERIPH_UART4);

    LL_AHB2_GRP1_EnableClock(LL_AHB2_GRP1_PERIPH_GPIOA);
    /**UART4 GPIO Configuration
        PA0   ------> UART4_TX
        PA1   ------> UART4_RX
     */
    GPIO_InitStruct.Pin = LL_GPIO_PIN_0|LL_GPIO_PIN_1;
    GPIO_InitStruct.Mode = LL_GPIO_MODE_ALTERNATE;
    GPIO_InitStruct.Speed = LL_GPIO_SPEED_FREQ_VERY_HIGH;
    GPIO_InitStruct.OutputType = LL_GPIO_OUTPUT_PUSHPULL;
    GPIO_InitStruct.Pull = LL_GPIO_PULL_NO;
    GPIO_InitStruct.Alternate = LL_GPIO_AF_8;
    LL_GPIO_Init(GPIOA, &GPIO_InitStruct);

    /* UART4 DMA Init */

    /* UART4_TX Init */
    LL_DMA_SetPeriphRequest(DMA1, LL_DMA_CHANNEL_3, LL_DMAMUX_REQ_UART4_TX);

    LL_DMA_SetDataTransferDirection(DMA1, LL_DMA_CHANNEL_3, LL_DMA_DIRECTION_MEMORY_TO_PERIPH);

    LL_DMA_SetChannelPriorityLevel(DMA1, LL_DMA_CHANNEL_3, LL_DMA_PRIORITY_LOW);

    LL_DMA_SetMode(DMA1, LL_DMA_CHANNEL_3, LL_DMA_MODE_NORMAL);

    LL_DMA_SetPeriphIncMode(DMA1, LL_DMA_CHANNEL_3, LL_DMA_PERIPH_NOINCREMENT);

    LL_DMA_SetMemoryIncMode(DMA1, LL_DMA_CHANNEL_3, LL_DMA_MEMORY_INCREMENT);

    LL_DMA_SetPeriphSize(DMA1, LL_DMA_CHANNEL_3, LL_DMA_PDATAALIGN_BYTE);

    LL_DMA_SetMemorySize(DMA1, LL_DMA_CHANNEL_3, LL_DMA_MDATAALIGN_BYTE);

    /* UART4 interrupt Init */
    NVIC_SetPriority(UART4_IRQn, NVIC_EncodePriority(NVIC_GetPriorityGrouping(),5, 0));
    NVIC_EnableIRQ(UART4_IRQn);

    UART_InitStruct.BaudRate = 230400;
    //UART_InitStruct.BaudRate = 4000000;
    UART_InitStruct.DataWidth = LL_USART_DATAWIDTH_8B;
    UART_InitStruct.StopBits = LL_USART_STOPBITS_1;
    UART_InitStruct.Parity = LL_USART_PARITY_NONE;
    UART_InitStruct.TransferDirection = LL_USART_DIRECTION_TX_RX;
    UART_InitStruct.HardwareFlowControl = LL_USART_HWCONTROL_NONE;
    UART_InitStruct.OverSampling = LL_USART_OVERSAMPLING_16;
    LL_USART_Init(UART4, &UART_InitStruct);
    LL_USART_ConfigAsyncMode(UART4);
    LL_USART_Enable(UART4);
    /* USER CODE BEGIN UART4_Init 2 */

    LL_DMA_SetPeriphAddress(DMA1, LL_DMA_CHANNEL_3, (uint32_t)LL_USART_DMA_GetRegAddr(UART4, LL_USART_DMA_REG_DATA_TRANSMIT));
    LL_DMA_EnableIT_TC(DMA1, LL_DMA_CHANNEL_3);
    LL_USART_EnableDMAReq_TX(UART4);

    /* USER CODE END UART4_Init 2 */

}

static void MX_USART1_UART_Init(void)
{

    huart1.Instance = USART1;
    //huart1.Init.BaudRate = 115200;
    //huart1.Init.BaudRate = 4000000;
    huart1.Init.BaudRate = 2000000;
    huart1.Init.WordLength = UART_WORDLENGTH_8B;
    huart1.Init.StopBits = UART_STOPBITS_1;
    huart1.Init.Parity = UART_PARITY_NONE;
    huart1.Init.Mode = UART_MODE_TX_RX;
    huart1.Init.HwFlowCtl = UART_HWCONTROL_NONE;
    huart1.Init.OverSampling = UART_OVERSAMPLING_16;
    huart1.Init.OneBitSampling = UART_ONE_BIT_SAMPLE_DISABLE;
    huart1.Init.ClockPrescaler = UART_PRESCALER_DIV1;
    huart1.AdvancedInit.AdvFeatureInit = UART_ADVFEATURE_NO_INIT;
    if (HAL_UART_Init(&huart1) != HAL_OK)
    {
        Error_Handler();
    }
    if (HAL_UARTEx_SetTxFifoThreshold(&huart1, UART_TXFIFO_THRESHOLD_1_8) != HAL_OK)
    {
        Error_Handler();
    }
    if (HAL_UARTEx_SetRxFifoThreshold(&huart1, UART_RXFIFO_THRESHOLD_1_8) != HAL_OK)
    {
        Error_Handler();
    }
    if (HAL_UARTEx_DisableFifoMode(&huart1) != HAL_OK)
    {
        Error_Handler();
    }

}

static void MX_USB_OTG_FS_PCD_Init(void)
{

    hpcd_USB_OTG_FS.Instance = USB_OTG_FS;
    hpcd_USB_OTG_FS.Init.dev_endpoints = 6;
    hpcd_USB_OTG_FS.Init.phy_itface = PCD_PHY_EMBEDDED;
    hpcd_USB_OTG_FS.Init.Sof_enable = DISABLE;
    hpcd_USB_OTG_FS.Init.low_power_enable = DISABLE;
    hpcd_USB_OTG_FS.Init.lpm_enable = DISABLE;
    hpcd_USB_OTG_FS.Init.battery_charging_enable = DISABLE;
    hpcd_USB_OTG_FS.Init.use_dedicated_ep1 = DISABLE;
    hpcd_USB_OTG_FS.Init.vbus_sensing_enable = DISABLE;
    if (HAL_PCD_Init(&hpcd_USB_OTG_FS) != HAL_OK)
    {
        Error_Handler();
    }

}

static void MX_DMA_Init(void)
{

    /* Init with LL driver */
    /* DMA controller clock enable */
    LL_AHB1_GRP1_EnableClock(LL_AHB1_GRP1_PERIPH_DMAMUX1);
    LL_AHB1_GRP1_EnableClock(LL_AHB1_GRP1_PERIPH_DMA1);

    /* DMA interrupt init */
    /* DMA1_Channel1_IRQn interrupt configuration */
    NVIC_SetPriority(DMA1_Channel1_IRQn, NVIC_EncodePriority(NVIC_GetPriorityGrouping(),5, 0));
    NVIC_EnableIRQ(DMA1_Channel1_IRQn);
    /* DMA1_Channel2_IRQn interrupt configuration */
    HAL_NVIC_SetPriority(DMA1_Channel2_IRQn, 5, 0);
    HAL_NVIC_EnableIRQ(DMA1_Channel2_IRQn);
    /* DMA1_Channel3_IRQn interrupt configuration */
    NVIC_SetPriority(DMA1_Channel3_IRQn, NVIC_EncodePriority(NVIC_GetPriorityGrouping(),5, 0));
    NVIC_EnableIRQ(DMA1_Channel3_IRQn);

}

static void MX_GPIO_Init(void)
{
    LL_GPIO_InitTypeDef GPIO_InitStruct = {0};

    /* GPIO Ports Clock Enable */
    LL_AHB2_GRP1_EnableClock(LL_AHB2_GRP1_PERIPH_GPIOB);
    LL_AHB2_GRP1_EnableClock(LL_AHB2_GRP1_PERIPH_GPIOC);
    LL_AHB2_GRP1_EnableClock(LL_AHB2_GRP1_PERIPH_GPIOA);
    LL_AHB2_GRP1_EnableClock(LL_AHB2_GRP1_PERIPH_GPIOE);
    LL_AHB2_GRP1_EnableClock(LL_AHB2_GRP1_PERIPH_GPIOD);
    LL_AHB2_GRP1_EnableClock(LL_AHB2_GRP1_PERIPH_GPIOF);
    LL_AHB2_GRP1_EnableClock(LL_AHB2_GRP1_PERIPH_GPIOG);
    LL_PWR_EnableVddIO2();
    LL_AHB2_GRP1_EnableClock(LL_AHB2_GRP1_PERIPH_GPIOH);

    /**/
    LL_GPIO_ResetOutputPin(VUSB_EN_GPIO_Port, VUSB_EN_Pin);

    /**/
    LL_GPIO_ResetOutputPin(GPIOC, OV2640_EXPST_B_Pin|SD_nENABLE_Pin);

    /**/
    LL_GPIO_ResetOutputPin(GPIOF, OV2640_FREX_Pin|OV2640_PWDN_Pin|FRAM1_nHOLD_Pin);

    /**/
    LL_GPIO_ResetOutputPin(GPIOE, FRAM1_nWP_Pin|FRAM2_nHOLD_Pin|FRAM2_nWP_Pin);

    /**/
    LL_GPIO_ResetOutputPin(FRAM1_nCS_GPIO_Port, FRAM1_nCS_Pin);

    /**/
    LL_GPIO_ResetOutputPin(FRAM2_nCS_GPIO_Port, FRAM2_nCS_Pin);

    /**/
    LL_GPIO_SetOutputPin(OV2640_RESETB_GPIO_Port, OV2640_RESETB_Pin);

    /**/
    GPIO_InitStruct.Pin = VUSB_EN_Pin;
    GPIO_InitStruct.Mode = LL_GPIO_MODE_OUTPUT;
    GPIO_InitStruct.Speed = LL_GPIO_SPEED_FREQ_LOW;
    GPIO_InitStruct.OutputType = LL_GPIO_OUTPUT_PUSHPULL;
    GPIO_InitStruct.Pull = LL_GPIO_PULL_NO;
    LL_GPIO_Init(VUSB_EN_GPIO_Port, &GPIO_InitStruct);

    /**/
    GPIO_InitStruct.Pin = CHG_STAT_Pin;
    GPIO_InitStruct.Mode = LL_GPIO_MODE_INPUT;
    GPIO_InitStruct.Pull = LL_GPIO_PULL_NO;
    LL_GPIO_Init(CHG_STAT_GPIO_Port, &GPIO_InitStruct);

    /**/
    GPIO_InitStruct.Pin = OV2640_RESETB_Pin;
    GPIO_InitStruct.Mode = LL_GPIO_MODE_OUTPUT;
    GPIO_InitStruct.Speed = LL_GPIO_SPEED_FREQ_LOW;
    GPIO_InitStruct.OutputType = LL_GPIO_OUTPUT_OPENDRAIN;
    GPIO_InitStruct.Pull = LL_GPIO_PULL_NO;
    LL_GPIO_Init(OV2640_RESETB_GPIO_Port, &GPIO_InitStruct);

    /**/
    GPIO_InitStruct.Pin = OV2640_EXPST_B_Pin|SD_nENABLE_Pin;
    GPIO_InitStruct.Mode = LL_GPIO_MODE_OUTPUT;
    GPIO_InitStruct.Speed = LL_GPIO_SPEED_FREQ_LOW;
    GPIO_InitStruct.OutputType = LL_GPIO_OUTPUT_PUSHPULL;
    GPIO_InitStruct.Pull = LL_GPIO_PULL_NO;
    LL_GPIO_Init(GPIOC, &GPIO_InitStruct);

    /**/
    GPIO_InitStruct.Pin = LSM6DSL_INT2_Pin|LSM6DSL_INT1_Pin;
    GPIO_InitStruct.Mode = LL_GPIO_MODE_INPUT;
    GPIO_InitStruct.Pull = LL_GPIO_PULL_NO;
    LL_GPIO_Init(GPIOG, &GPIO_InitStruct);

    /**/
    GPIO_InitStruct.Pin = OV2640_FREX_Pin|OV2640_PWDN_Pin|FRAM1_nHOLD_Pin;
    GPIO_InitStruct.Mode = LL_GPIO_MODE_OUTPUT;
    GPIO_InitStruct.Speed = LL_GPIO_SPEED_FREQ_LOW;
    GPIO_InitStruct.OutputType = LL_GPIO_OUTPUT_PUSHPULL;
    GPIO_InitStruct.Pull = LL_GPIO_PULL_NO;
    LL_GPIO_Init(GPIOF, &GPIO_InitStruct);

    /**/
    GPIO_InitStruct.Pin = OV2640_STROBE_Pin;
    GPIO_InitStruct.Mode = LL_GPIO_MODE_INPUT;
    GPIO_InitStruct.Pull = LL_GPIO_PULL_NO;
    LL_GPIO_Init(OV2640_STROBE_GPIO_Port, &GPIO_InitStruct);

    /**/
    GPIO_InitStruct.Pin = SD_DETECT_Pin;
    GPIO_InitStruct.Mode = LL_GPIO_MODE_INPUT;
    GPIO_InitStruct.Pull = LL_GPIO_PULL_UP;
    LL_GPIO_Init(SD_DETECT_GPIO_Port, &GPIO_InitStruct);

    /**/
    GPIO_InitStruct.Pin = USER_SW2_Pin|USER_SW1_Pin;
    GPIO_InitStruct.Mode = LL_GPIO_MODE_INPUT;
    GPIO_InitStruct.Pull = LL_GPIO_PULL_UP;
    LL_GPIO_Init(GPIOA, &GPIO_InitStruct);

    /**/
    GPIO_InitStruct.Pin = FRAM1_nWP_Pin|FRAM2_nHOLD_Pin|FRAM2_nWP_Pin;
    GPIO_InitStruct.Mode = LL_GPIO_MODE_OUTPUT;
    GPIO_InitStruct.Speed = LL_GPIO_SPEED_FREQ_LOW;
    GPIO_InitStruct.OutputType = LL_GPIO_OUTPUT_PUSHPULL;
    GPIO_InitStruct.Pull = LL_GPIO_PULL_NO;
    LL_GPIO_Init(GPIOE, &GPIO_InitStruct);

    /**/
    GPIO_InitStruct.Pin = FRAM1_nCS_Pin;
    GPIO_InitStruct.Mode = LL_GPIO_MODE_OUTPUT;
    GPIO_InitStruct.Speed = LL_GPIO_SPEED_FREQ_LOW;
    GPIO_InitStruct.OutputType = LL_GPIO_OUTPUT_PUSHPULL;
    GPIO_InitStruct.Pull = LL_GPIO_PULL_NO;
    LL_GPIO_Init(FRAM1_nCS_GPIO_Port, &GPIO_InitStruct);

    /**/
    GPIO_InitStruct.Pin = VBUS_DETECT_Pin;
    GPIO_InitStruct.Mode = LL_GPIO_MODE_INPUT;
    GPIO_InitStruct.Pull = LL_GPIO_PULL_NO;
    LL_GPIO_Init(VBUS_DETECT_GPIO_Port, &GPIO_InitStruct);

    /**/
    GPIO_InitStruct.Pin = FRAM2_nCS_Pin;
    GPIO_InitStruct.Mode = LL_GPIO_MODE_OUTPUT;
    GPIO_InitStruct.Speed = LL_GPIO_SPEED_FREQ_LOW;
    GPIO_InitStruct.OutputType = LL_GPIO_OUTPUT_PUSHPULL;
    GPIO_InitStruct.Pull = LL_GPIO_PULL_NO;
    LL_GPIO_Init(FRAM2_nCS_GPIO_Port, &GPIO_InitStruct);

}

/* USER CODE BEGIN 4 */

void HAL_UART_RxCpltCallback(UART_HandleTypeDef *huart)
{
    //hmmm
}

/* USER CODE END 4 */

void StartDefaultTask(void const * argument)
{
    for(;;)
    {
        osDelay(1);
    }
}

void HAL_TIM_PeriodElapsedCallback(TIM_HandleTypeDef *htim)
{
    if (htim->Instance == TIM1) {
        HAL_IncTick();
    }
}

void Error_Handler(void)
{
}

/************************ (C) COPYRIGHT STMicroelectronics *****END OF FILE****/

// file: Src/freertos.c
/* USER CODE BEGIN Header */
/**
  ******************************************************************************
  * File Name          : freertos.c
  * Description        : Code for freertos applications
  ******************************************************************************
  * @attention
  *
  * <h2><center>&copy; Copyright (c) 2021 STMicroelectronics.
  * All rights reserved.</center></h2>
  *
  * This software component is licensed by ST under Ultimate Liberty license
  * SLA0044, the "License"; You may not use this file except in compliance with
  * the License. You may obtain a copy of the License at:
  *                             www.st.com/SLA0044
  *
  ******************************************************************************
  */
/* USER CODE END Header */

#include "FreeRTOS.h"
#include "task.h"
#include "main.h"

/* GetIdleTaskMemory prototype (linked to static allocation support) */
void vApplicationGetIdleTaskMemory( StaticTask_t **ppxIdleTaskTCBBuffer, StackType_t **ppxIdleTaskStackBuffer, uint32_t *pulIdleTaskStackSize );

/* Hook prototypes */
void vApplicationIdleHook(void);

/* USER CODE BEGIN 2 */
__weak void vApplicationIdleHook( void )
{
   /* vApplicationIdleHook() will only be called if configUSE_IDLE_HOOK is set
   to 1 in FreeRTOSConfig.h. It will be called on each iteration of the idle
   task. It is essential that code added to this hook function never attempts
   to block in any way (for example, call xQueueReceive() with a block time
   specified, or call vTaskDelay()). If the application makes use of the
   vTaskDelete() API function (as this demo application does) then it is also
   important that vApplicationIdleHook() is permitted to return to its calling
   function, because it is the responsibility of the idle task to clean up
   memory allocated by the kernel to any task that has since been deleted. */
}
/* USER CODE END 2 */

/* USER CODE BEGIN GET_IDLE_TASK_MEMORY */
static StaticTask_t xIdleTaskTCBBuffer;
static StackType_t xIdleStack[configMINIMAL_STACK_SIZE];

void vApplicationGetIdleTaskMemory( StaticTask_t **ppxIdleTaskTCBBuffer, StackType_t **ppxIdleTaskStackBuffer, uint32_t *pulIdleTaskStackSize )
{
  *ppxIdleTaskTCBBuffer = &xIdleTaskTCBBuffer;
  *ppxIdleTaskStackBuffer = &xIdleStack[0];
  *pulIdleTaskStackSize = configMINIMAL_STACK_SIZE;
  /* place for user code */
}
/* USER CODE END GET_IDLE_TASK_MEMORY */

/************************ (C) COPYRIGHT STMicroelectronics *****END OF FILE****/
